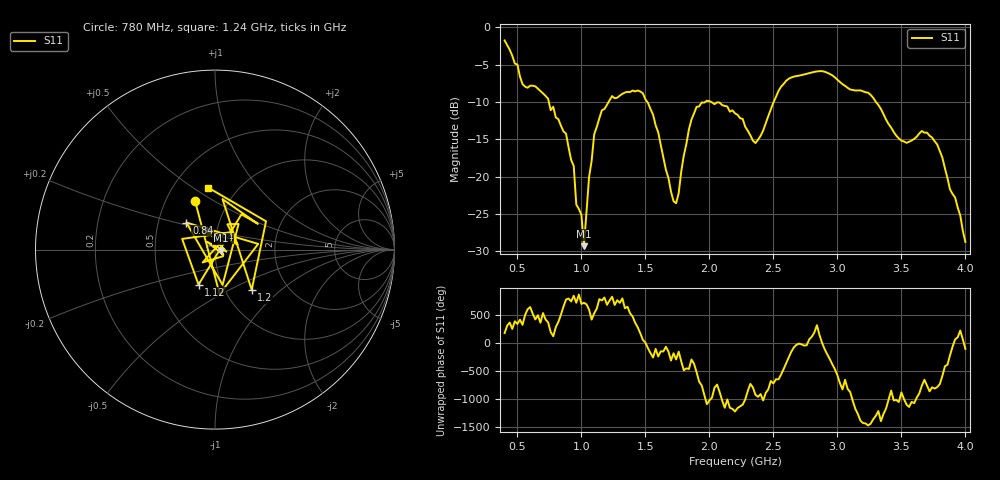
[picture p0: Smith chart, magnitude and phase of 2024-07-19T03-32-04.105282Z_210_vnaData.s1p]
!Created with skrf (http://scikit-rf.org).
# Hz S RI R 50.0
!freq ReS11 ImS11
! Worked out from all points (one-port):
!   181 points, 400 MHz to 4 GHz, reference 50 ohm
!   lowest |S11| = -29.3 dB at 1.02 GHz (marker M1), VSWR 1.07, Z = 53.5 - j0.721 ohm
!   |S11| at or under -10 dB: 745.8 MHz to 1.212 GHz (466.3 MHz wide, 47.6 % of centre); 2.016 GHz to 2.502 GHz (486 MHz wide, 21.5 % of centre); 3.302 GHz to end of sweep (the widest 3 of 4)
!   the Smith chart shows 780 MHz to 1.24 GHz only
!   S11 on the Smith chart (normalised r, x): 780 MHz: 0.70, +0.42; 840 MHz: 0.70, +0.22; 940 MHz: 0.89, +0.20; 1.12 GHz: 0.78, -0.32; 1.2 GHz: 1.33, -0.66; 1.24 GHz: 0.74, +0.58
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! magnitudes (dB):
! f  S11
! 400 MHz  -1.8
! 540 MHz  -7.6
! 780 MHz  -10.6
! 840 MHz  -13.2
! 860 MHz  -13.9
! 940 MHz  -18.5
! 960 MHz  -23.7
! 1 GHz  -25.1
! 1.02 GHz  -29.3
! 1.06 GHz  -20.0
! 1.12 GHz  -13.3
! 1.2 GHz  -10.4
! 1.24 GHz  -9.2
! 1.3 GHz  -9.1
! 1.48 GHz  -8.8
! 1.6 GHz  -14.0
! 1.72 GHz  -23.3
! 1.76 GHz  -22.2
! 1.84 GHz  -13.7
! 1.9 GHz  -10.6
! 2.2 GHz  -11.5
! 2.36 GHz  -15.5
! 2.66 GHz  -6.6
! 3.1 GHz  -8.3
! 3.26 GHz  -9.0
! 3.56 GHz  -15.3
! 3.78 GHz  -15.7
! 4 GHz  -28.7
